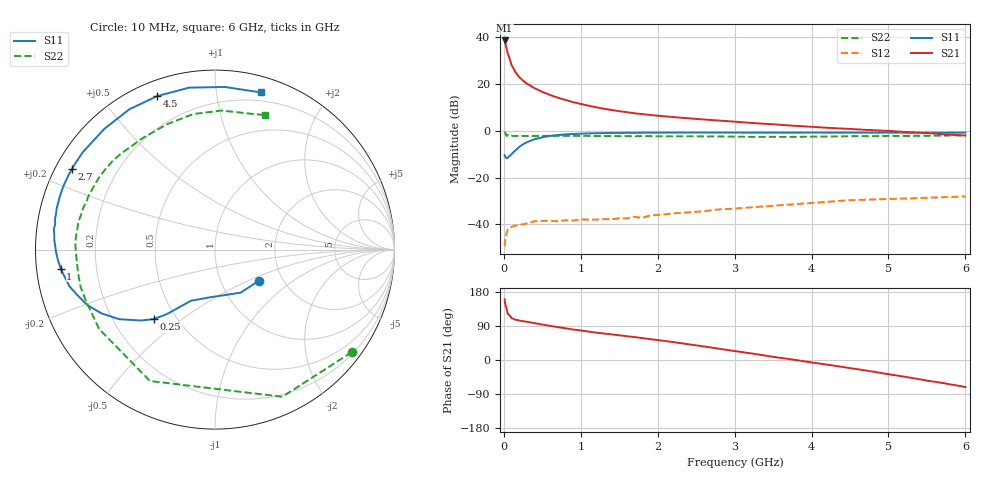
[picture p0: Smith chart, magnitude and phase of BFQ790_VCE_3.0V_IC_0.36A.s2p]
! Infineon Technologies  Discrete & RF Semiconductors
! BFQ790
! VCE =  3.0 V,  IC = 0.36 A
! Common Emitter S-Parameters:  May 2015
# GHz  S  MA  R  50
!  f  S11  S21  S12  S22
! GHz  MAG  ANG  MAG  ANG  MAG  ANG  MAG  ANG
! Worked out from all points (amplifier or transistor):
!   77 points, 10 MHz to 6 GHz, reference 50 ohm
!   highest |S21| = 38.6 dB at 10 MHz (marker M1)
!   |S21| within 3 dB of that: start of sweep to 32.48 MHz
!   unconditionally stable (mu >= 1): 188.9 MHz to end of sweep
!   at 130 MHz: K = 0.81, MSG = 33.6 dB, |S12| = -40.7 dB
!   at 2.2 GHz: K = 1.34, MAG = 17.1 dB, |S12| = -35.3 dB
!   at 6 GHz: K = 1.08, MAG = 11.3 dB, |S12| = -28.0 dB
!   S11 on the Smith chart (normalised r, x): 10 MHz: 1.51, -0.58; 250 MHz: 0.38, -0.40; 1 GHz: 0.07, -0.06; 2.7 GHz: 0.05, +0.26; 4.5 GHz: 0.07, +0.69; 6 GHz: 0.13, +1.32
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0.01  0.2993 -35.7  85.36 160.3  0.0034 72.6  0.9523 -36.9
0.02  0.2793 -59.2  73.57 145.2  0.0053 56.3  0.9017 -65.4
0.05  0.2684 -96.8  44.74 121.8  0.0077 31.9  0.8168 -116.3
0.1  0.3143 -115.1  25.43 110.2  0.0088 19.3  0.7825 -145.5
0.15  0.38 -122.0  17.9 106.2  0.0094 22.4  0.7735 -158.0
0.2  0.4492 -126.8  14.08 104.2  0.0098 22.4  0.7771 -164.3
0.25  0.5148 -131.3  11.76 102.4  0.01 16.1  0.7742 -168.6
0.3  0.5686 -136.0  10.13 100.8  0.0104 15.7  0.7729 -172.0
0.4  0.6601 -144.0  8.111 97.1  0.0116 14.9  0.7735 -176.6
0.5  0.7257 -150.7  6.779 93.5  0.0118 12.0  0.776 180.0
0.7  0.8065 -161.5  5.103 86.8  0.0116 16.2  0.7782 174.8
0.9  0.8518 -169.9  4.096 80.5  0.012 11.8  0.7753 171.2
1  0.8663 -173.0  3.749 78.0  0.0127 12.2  0.7762 169.4
1.1  0.8772 -176.2  3.433 75.1  0.0126 15.0  0.7748 167.6
1.5  0.8991 174.7  2.62 65.2  0.0134 18.3  0.7692 161.9
2.1  0.912 163.4  2.03 50.0  0.0164 18.8  0.7618 153.1
2.7  0.9147 150.7  1.694 32.8  0.0199 14.1  0.7552 141.3
3.1  0.9117 141.5  1.52 20.8  0.0223 9.3  0.7446 132.2
4.1  0.9129 119.2  1.186 -9.3  0.0293 -6.2  0.7487 108.5
4.5  0.9138 110.6  1.096 -21.5  0.0328 -13.4  0.7648 99.1
5.1  0.9091 96.6  0.969 -40.6  0.0351 -26.7  0.7744 85.2
6  0.912 73.8  0.792 -71.4  0.0396 -47.8  0.7991 69.7
